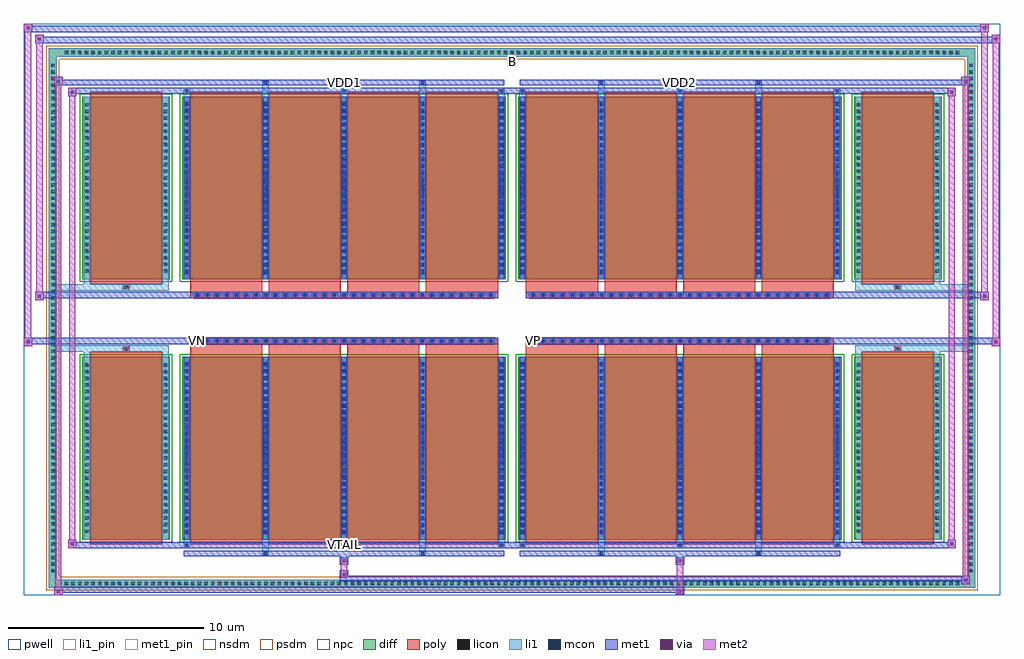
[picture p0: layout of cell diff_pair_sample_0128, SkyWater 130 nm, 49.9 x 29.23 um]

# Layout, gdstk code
import gdstk
lib = gdstk.Library(unit=1e-6, precision=5e-09)
def R(c, l, rs):  # rectangles x0, y0, x1, y1
    for r in rs: c.add(gdstk.rectangle(r[:2], r[2:], *l))
def A(c, l, x, y, w, h, nx, ny, dx, dy):  # array of equal rectangles
    R(c, l, [(x+i*dx, y+j*dy, x+i*dx+w, y+j*dy+h) for i in range(nx) for j in range(ny)])
def P(c, l, *ps):  # polygons
    for p in ps: c.add(gdstk.Polygon(p, *l))
pwell = (64, 44)
diff = (65, 20)
poly = (66, 20)
licon = (66, 44)
li1_pin = (67, 16)
li1 = (67, 20)
mcon = (67, 44)
met1_pin = (68, 16)
met1 = (68, 20)
via = (68, 44)
met2 = (69, 20)
nsdm = (93, 44)
psdm = (94, 20)
npc = (95, 20)

diff_pair_sample_0128 = lib.new_cell('diff_pair_sample_0128')
R(diff_pair_sample_0128, pwell, [(-24.95,-14.18,24.95,15.05), (-22.27,-12.37,-0.01,-0.805), (0.01,-12.37,22.27,-0.805), (-22.27,0.805,-0.01,12.37), (0.01,0.805,22.27,12.37)])
A(diff_pair_sample_0128, diff, -22.985, -13.78, 0.41, 0.41, 135, 2, 0.34, 27.15)
A(diff_pair_sample_0128, diff, -23.68, -13.125, 0.41, 0.41, 1, 77, 0, 0.34)
A(diff_pair_sample_0128, diff, 23.27, -13.125, 0.41, 0.41, 1, 77, 0, 0.34)
R(diff_pair_sample_0128, diff, [(-22.985,-13.78,22.985,-13.37), (-23.68,-13.125,-23.27,13.125), (23.27,-13.125,23.68,13.125), (-21.96,-11.325,-17.49,-1.985), (-16.85,-11.325,-0.32,-1.985), (0.32,-11.325,16.85,-1.985), (17.49,-11.325,21.96,-1.985), (-21.96,1.985,-17.49,11.325), (-16.85,1.985,-0.32,11.325), (0.32,1.985,16.85,11.325), (17.49,1.985,21.96,11.325), (-22.985,13.37,22.985,13.78)])
P(diff_pair_sample_0128, diff, [(23.68,13.78),(-23.68,13.78),(-23.68,-13.37),(-23.27,-13.37),(-23.27,13.37),(23.27,13.37),(23.27,-13.37),(-23.27,-13.37),(-23.68,-13.37),(-23.68,-13.78),(23.68,-13.78)])
A(diff_pair_sample_0128, poly, -16.46, -11.575, 3.69, 9.84, 4, 2, 4.02, 13.31)
A(diff_pair_sample_0128, poly, 0.71, -11.575, 3.69, 9.84, 4, 2, 4.02, 13.31)
A(diff_pair_sample_0128, poly, -16.46, -1.735, 3.69, 0.4, 4, 2, 4.02, 3.07)
A(diff_pair_sample_0128, poly, 0.71, -1.735, 3.69, 0.4, 4, 2, 4.02, 3.07)
A(diff_pair_sample_0128, poly, -16.25, -1.335, 0.33, 0.33, 31, 2, 0.5, 2.34)
A(diff_pair_sample_0128, poly, 0.92, -1.335, 0.33, 0.33, 31, 2, 0.5, 2.34)
R(diff_pair_sample_0128, poly, [(-21.57,-11.575,-17.88,-1.735), (17.88,-11.575,21.57,-1.735), (-19.89,-1.735,-19.56,-1.405), (-19.89,-1.735,-19.56,-1.405), (19.56,-1.735,19.89,-1.405), (19.56,-1.735,19.89,-1.405), (-16.46,-1.335,-0.71,-1.005), (0.71,-1.335,16.46,-1.005), (-16.46,1.005,-0.71,1.335), (0.71,1.005,16.46,1.335), (-19.89,1.405,-19.56,1.735), (-19.89,1.405,-19.56,1.735), (19.56,1.405,19.89,1.735), (19.56,1.405,19.89,1.735), (-21.57,1.735,-17.88,11.575), (17.88,1.735,21.57,11.575)])
A(diff_pair_sample_0128, licon, -22.865, -13.66, 0.17, 0.17, 135, 2, 0.34, 27.15)
A(diff_pair_sample_0128, licon, -23.56, -13.005, 0.17, 0.17, 1, 77, 0, 0.34)
A(diff_pair_sample_0128, licon, 23.39, -13.005, 0.17, 0.17, 1, 77, 0, 0.34)
A(diff_pair_sample_0128, licon, -21.82, -10.99, 0.17, 0.17, 1, 26, 0, 0.34)
A(diff_pair_sample_0128, licon, -17.8, -10.99, 0.17, 0.17, 1, 26, 0, 0.34)
A(diff_pair_sample_0128, licon, -16.71, -10.99, 0.17, 0.17, 5, 26, 4.02, 0.34)
A(diff_pair_sample_0128, licon, 0.46, -10.99, 0.17, 0.17, 5, 26, 4.02, 0.34)
A(diff_pair_sample_0128, licon, 17.63, -10.99, 0.17, 0.17, 1, 26, 0, 0.34)
A(diff_pair_sample_0128, licon, 21.65, -10.99, 0.17, 0.17, 1, 26, 0, 0.34)
A(diff_pair_sample_0128, licon, -16.17, -1.255, 0.17, 0.17, 31, 2, 0.5, 2.34)
A(diff_pair_sample_0128, licon, 1, -1.255, 0.17, 0.17, 31, 2, 0.5, 2.34)
A(diff_pair_sample_0128, licon, -21.82, 2.32, 0.17, 0.17, 1, 26, 0, 0.34)
A(diff_pair_sample_0128, licon, -17.8, 2.32, 0.17, 0.17, 1, 26, 0, 0.34)
A(diff_pair_sample_0128, licon, -16.71, 2.32, 0.17, 0.17, 5, 26, 4.02, 0.34)
A(diff_pair_sample_0128, licon, 0.46, 2.32, 0.17, 0.17, 5, 26, 4.02, 0.34)
A(diff_pair_sample_0128, licon, 17.63, 2.32, 0.17, 0.17, 1, 26, 0, 0.34)
A(diff_pair_sample_0128, licon, 21.65, 2.32, 0.17, 0.17, 1, 26, 0, 0.34)
R(diff_pair_sample_0128, licon, [(-19.81,-1.655,-19.64,-1.485), (19.64,-1.655,19.81,-1.485), (-19.81,1.485,-19.64,1.655), (19.64,1.485,19.81,1.655)])
R(diff_pair_sample_0128, li1_pin, [(-0.25,12.87,0.25,13.37)])
A(diff_pair_sample_0128, li1, -22.945, -13.74, 0.33, 0.33, 135, 2, 0.34, 27.15)
A(diff_pair_sample_0128, li1, -23.64, -13.085, 0.33, 0.33, 1, 77, 0, 0.34)
A(diff_pair_sample_0128, li1, 23.31, -13.085, 0.33, 0.33, 1, 77, 0, 0.34)
A(diff_pair_sample_0128, li1, -16.79, -11.7, 0.33, 0.375, 3, 2, 8.04, 23.025)
A(diff_pair_sample_0128, li1, -16.71, -11.7, 0.17, 0.17, 3, 2, 8.04, 23.23)
A(diff_pair_sample_0128, li1, 0.38, -11.7, 0.33, 0.375, 3, 2, 8.04, 23.025)
A(diff_pair_sample_0128, li1, 0.46, -11.7, 0.17, 0.17, 3, 2, 8.04, 23.23)
A(diff_pair_sample_0128, li1, -16.79, -11.325, 0.33, 9.34, 5, 2, 4.02, 13.31)
A(diff_pair_sample_0128, li1, 0.38, -11.325, 0.33, 9.34, 5, 2, 4.02, 13.31)
A(diff_pair_sample_0128, li1, -21.9, -11.07, 0.33, 0.33, 1, 26, 0, 0.34)
A(diff_pair_sample_0128, li1, -17.88, -11.07, 0.33, 0.33, 1, 26, 0, 0.34)
A(diff_pair_sample_0128, li1, -16.79, -11.07, 0.33, 0.33, 5, 26, 4.02, 0.34)
A(diff_pair_sample_0128, li1, 0.38, -11.07, 0.33, 0.33, 5, 26, 4.02, 0.34)
A(diff_pair_sample_0128, li1, 17.55, -11.07, 0.33, 0.33, 1, 26, 0, 0.34)
A(diff_pair_sample_0128, li1, 21.57, -11.07, 0.33, 0.33, 1, 26, 0, 0.34)
A(diff_pair_sample_0128, li1, -16.71, -11.06, 0.17, 0.17, 5, 25, 4.02, 0.36)
A(diff_pair_sample_0128, li1, -16.71, -11.06, 0.17, 8.81, 5, 2, 4.02, 13.31)
A(diff_pair_sample_0128, li1, 0.46, -11.06, 0.17, 0.17, 5, 25, 4.02, 0.36)
A(diff_pair_sample_0128, li1, 0.46, -11.06, 0.17, 8.81, 5, 2, 4.02, 13.31)
A(diff_pair_sample_0128, li1, -16.25, -1.335, 0.33, 0.33, 31, 2, 0.5, 2.34)
A(diff_pair_sample_0128, li1, 0.92, -1.335, 0.33, 0.33, 31, 2, 0.5, 2.34)
A(diff_pair_sample_0128, li1, -21.9, 2.24, 0.33, 0.33, 1, 26, 0, 0.34)
A(diff_pair_sample_0128, li1, -17.88, 2.24, 0.33, 0.33, 1, 26, 0, 0.34)
A(diff_pair_sample_0128, li1, -16.79, 2.24, 0.33, 0.33, 5, 26, 4.02, 0.34)
A(diff_pair_sample_0128, li1, 0.38, 2.24, 0.33, 0.33, 5, 26, 4.02, 0.34)
A(diff_pair_sample_0128, li1, 17.55, 2.24, 0.33, 0.33, 1, 26, 0, 0.34)
A(diff_pair_sample_0128, li1, 21.57, 2.24, 0.33, 0.33, 1, 26, 0, 0.34)
A(diff_pair_sample_0128, li1, -16.71, 2.25, 0.17, 0.17, 5, 25, 4.02, 0.36)
A(diff_pair_sample_0128, li1, 0.46, 2.25, 0.17, 0.17, 5, 25, 4.02, 0.36)
R(diff_pair_sample_0128, li1, [(-23.68,-13.78,-23.27,-13.37), (-23.68,-13.78,-23.27,-13.37), (-23.27,-13.78,23.27,-13.37), (23.27,-13.78,23.68,-13.37), (23.27,-13.78,23.68,-13.37), (-23.68,-13.37,-23.27,13.37), (23.27,-13.37,23.68,13.37), (-12.77,-12.13,-12.44,-11.325), (-12.69,-12.13,-12.52,-11.96), (-4.73,-12.13,-4.4,-11.325), (-4.65,-12.13,-4.48,-11.96), (4.4,-12.13,4.73,-11.325), (4.48,-12.13,4.65,-11.96), (12.44,-12.13,12.77,-11.325), (12.52,-12.13,12.69,-11.96), (-21.9,-11.325,-21.57,-1.985), (-17.88,-11.325,-17.55,-1.985), (17.55,-11.325,17.88,-1.985), (21.57,-11.325,21.9,-1.985), (-21.9,-1.985,-21.57,-1.405), (-17.88,-1.985,-17.55,-1.405), (17.55,-1.985,17.88,-1.405), (21.57,-1.985,21.9,-1.405), (-23.68,-1.735,-19.89,-1.405), (-21.9,-1.735,-19.89,-1.405), (-19.89,-1.735,-19.56,-1.405), (-19.56,-1.735,-17.55,-1.405), (17.55,-1.735,19.56,-1.405), (19.56,-1.735,19.89,-1.405), (19.56,-1.735,23.68,-1.405), (19.89,-1.735,21.9,-1.405), (-23.68,1.405,-19.89,1.735), (-21.9,1.405,-19.89,1.735), (-21.9,1.405,-21.57,1.985), (-19.89,1.405,-19.56,1.735), (-19.56,1.405,-17.55,1.735), (-17.88,1.405,-17.55,1.985), (17.55,1.405,19.56,1.735), (17.55,1.405,17.88,1.985), (19.56,1.405,19.89,1.735), (19.56,1.405,23.68,1.735), (19.89,1.405,21.9,1.735), (21.57,1.405,21.9,1.985), (-21.9,1.985,-21.57,11.325), (-17.88,1.985,-17.55,11.325), (17.55,1.985,17.88,11.325), (21.57,1.985,21.9,11.325), (-12.77,11.325,-12.44,12.13), (-4.73,11.325,-4.4,12.13), (4.4,11.325,4.73,12.13), (12.44,11.325,12.77,12.13), (-12.69,11.96,-12.52,12.13), (-4.65,11.96,-4.48,12.13), (4.48,11.96,4.65,12.13), (12.52,11.96,12.69,12.13), (-23.68,13.37,-23.27,13.78), (-23.68,13.37,-23.27,13.78), (-23.27,13.37,23.27,13.78), (23.27,13.37,23.68,13.78), (23.27,13.37,23.68,13.78)])
A(diff_pair_sample_0128, mcon, -16.71, -11.7, 0.17, 0.17, 3, 2, 8.04, 23.23)
A(diff_pair_sample_0128, mcon, 0.46, -11.7, 0.17, 0.17, 3, 2, 8.04, 23.23)
A(diff_pair_sample_0128, mcon, -16.71, -11.06, 0.17, 0.17, 5, 25, 4.02, 0.36)
A(diff_pair_sample_0128, mcon, 0.46, -11.06, 0.17, 0.17, 5, 25, 4.02, 0.36)
A(diff_pair_sample_0128, mcon, -16.17, -1.255, 0.17, 0.17, 31, 2, 0.5, 2.34)
A(diff_pair_sample_0128, mcon, 1, -1.255, 0.17, 0.17, 31, 2, 0.5, 2.34)
A(diff_pair_sample_0128, mcon, -16.71, 2.25, 0.17, 0.17, 5, 25, 4.02, 0.36)
A(diff_pair_sample_0128, mcon, 0.46, 2.25, 0.17, 0.17, 5, 25, 4.02, 0.36)
R(diff_pair_sample_0128, mcon, [(-12.69,-12.13,-12.52,-11.96), (-4.65,-12.13,-4.48,-11.96), (4.48,-12.13,4.65,-11.96), (12.52,-12.13,12.69,-11.96), (-12.69,11.96,-12.52,12.13), (-4.65,11.96,-4.48,12.13), (4.48,11.96,4.65,12.13), (12.52,11.96,12.69,12.13)])
R(diff_pair_sample_0128, met1_pin, [(-8.72,-11.74,-8.45,-11.47), (-16.22,-1.295,-15.95,-1.025), (0.95,-1.295,1.22,-1.025), (-8.72,11.92,-8.45,12.19), (8.45,11.92,8.72,12.19)])
A(diff_pair_sample_0128, met1, -16.77, -11.76, 0.29, 0.29, 3, 2, 8.04, 23.23)
A(diff_pair_sample_0128, met1, 0.4, -11.76, 0.29, 0.29, 3, 2, 8.04, 23.23)
A(diff_pair_sample_0128, met1, -16.77, -11.325, 0.29, 9.34, 5, 2, 4.02, 13.31)
A(diff_pair_sample_0128, met1, 0.4, -11.325, 0.29, 9.34, 5, 2, 4.02, 13.31)
A(diff_pair_sample_0128, met1, -16.77, -11.12, 0.29, 0.29, 5, 25, 4.02, 0.36)
A(diff_pair_sample_0128, met1, 0.4, -11.12, 0.29, 0.29, 5, 25, 4.02, 0.36)
A(diff_pair_sample_0128, met1, -16.23, -1.315, 0.29, 0.29, 31, 2, 0.5, 2.34)
A(diff_pair_sample_0128, met1, 0.94, -1.315, 0.29, 0.29, 31, 2, 0.5, 2.34)
A(diff_pair_sample_0128, met1, -16.77, 2.19, 0.29, 0.29, 5, 25, 4.02, 0.36)
A(diff_pair_sample_0128, met1, 0.4, 2.19, 0.29, 0.29, 5, 25, 4.02, 0.36)
R(diff_pair_sample_0128, met1, [(-23.41,-14.18,-22.98,-13.75), (8.37,-14.18,8.8,-13.75), (-23.41,-14.04,8.8,-13.75), (22.98,-13.61,23.41,-13.18), (-8.8,-13.47,23.41,-13.18), (-8.8,-13.33,-8.37,-12.9), (-8.8,-12.62,-8.37,-12.19), (8.37,-12.62,8.8,-12.19), (-16.77,-12.19,-0.4,-11.9), (-12.75,-12.19,-12.46,-11.9), (-4.71,-12.19,-4.42,-11.9), (0.4,-12.19,16.77,-11.9), (4.42,-12.19,4.71,-11.9), (12.46,-12.19,12.75,-11.9), (-22.7,-11.76,-22.27,-11.33), (-22.7,-11.76,-16.77,-11.47), (-16.77,-11.76,-0.4,-11.47), (-0.4,-11.76,0.4,-11.47), (0.4,-11.76,16.77,-11.47), (16.77,-11.76,22.7,-11.47), (22.27,-11.76,22.7,-11.33), (-24.95,-1.435,-24.52,-1.005), (24.52,-1.435,24.95,-1.005), (-24.95,-1.335,-0.71,-1.005), (-16.46,-1.335,-0.71,-1.005), (0.71,-1.335,16.46,-1.005), (0.71,-1.335,24.95,-1.005), (-24.38,0.905,-23.95,1.335), (23.95,0.905,24.38,1.335), (-24.38,1.005,-16.46,1.335), (-16.46,1.005,-0.71,1.335), (0.71,1.005,16.46,1.335), (16.46,1.005,24.38,1.335), (-22.7,11.33,-22.27,11.76), (22.27,11.33,22.7,11.76), (-22.7,11.47,-16.77,11.76), (-16.77,11.47,-0.4,11.76), (-0.4,11.47,0.4,11.76), (0.4,11.47,16.77,11.76), (16.77,11.47,22.7,11.76), (-23.41,11.9,-22.98,12.33), (-23.41,11.9,-16.77,12.19), (-16.77,11.9,-0.4,12.19), (-12.75,11.9,-12.46,12.19), (-4.71,11.9,-4.42,12.19), (0.4,11.9,16.77,12.19), (4.42,11.9,4.71,12.19), (12.46,11.9,12.75,12.19), (16.77,11.9,23.41,12.19), (22.98,11.9,23.41,12.33), (-24.38,14.05,-23.95,14.48), (-24.38,14.05,-22.27,14.38), (-22.27,14.05,22.27,14.38), (22.27,14.05,24.95,14.38), (24.52,14.05,24.95,14.48), (-24.95,14.62,-24.52,15.05), (-24.95,14.62,-22.27,14.95), (-22.27,14.62,22.27,14.95), (22.27,14.62,24.38,14.95), (23.95,14.62,24.38,15.05)])
R(diff_pair_sample_0128, via, [(-23.27,-14.04,-23.12,-13.89), (8.51,-14.04,8.66,-13.89), (23.12,-13.47,23.27,-13.32), (-8.66,-13.19,-8.51,-13.04), (-8.66,-12.48,-8.51,-12.33), (8.51,-12.48,8.66,-12.33), (-22.56,-11.62,-22.41,-11.47), (22.41,-11.62,22.56,-11.47), (-24.81,-1.295,-24.66,-1.145), (24.66,-1.295,24.81,-1.145), (-24.24,1.045,-24.09,1.195), (24.09,1.045,24.24,1.195), (-22.56,11.47,-22.41,11.62), (22.41,11.47,22.56,11.62), (-23.27,12.04,-23.12,12.19), (23.12,12.04,23.27,12.19), (-24.24,14.19,-24.09,14.34), (24.66,14.19,24.81,14.34), (-24.81,14.76,-24.66,14.91), (24.09,14.76,24.24,14.91)])
R(diff_pair_sample_0128, met2, [(-23.41,-14.18,-22.98,-13.75), (-23.34,-14.18,-23.05,12.33), (-23.05,-14.18,-22.98,-13.75), (-23.36,-14.13,-23.03,-13.8), (8.42,-14.13,8.75,-13.8), (8.42,-13.8,8.75,-12.57), (22.98,-13.61,23.41,-13.18), (23.05,-13.61,23.34,12.33), (23.34,-13.61,23.41,-13.18), (23.03,-13.56,23.36,-13.23), (-8.75,-13.28,-8.42,-12.95), (-8.75,-12.95,-8.42,-12.57), (-8.75,-12.57,-8.42,-12.24), (8.42,-12.57,8.75,-12.24), (-22.7,-11.76,-22.27,-11.33), (-22.63,-11.76,-22.34,11.76), (-22.34,-11.76,-22.27,-11.33), (22.27,-11.76,22.7,-11.33), (22.34,-11.76,22.63,11.76), (22.63,-11.76,22.7,-11.33), (-22.65,-11.71,-22.32,-11.38), (22.32,-11.71,22.65,-11.38), (-24.95,-1.435,-24.52,-1.005), (-24.9,-1.435,-24.57,15.05), (-24.57,-1.435,-24.52,-1.005), (24.52,-1.435,24.95,-1.005), (24.57,-1.435,24.9,14.48), (24.9,-1.435,24.95,-1.005), (-24.9,-1.385,-24.57,-1.055), (24.57,-1.385,24.9,-1.055), (-24.38,0.905,-23.95,1.335), (-24.33,0.905,-24,14.48), (-24,0.905,-23.95,1.335), (23.95,0.905,24.38,1.335), (24,0.905,24.33,15.05), (24.33,0.905,24.38,1.335), (-24.33,0.955,-24,1.285), (24,0.955,24.33,1.285), (-22.7,11.33,-22.27,11.76), (-22.34,11.33,-22.27,11.76), (22.27,11.33,22.7,11.76), (22.63,11.33,22.7,11.76), (-22.65,11.38,-22.32,11.71), (22.32,11.38,22.65,11.71), (-23.41,11.9,-22.98,12.33), (-23.05,11.9,-22.98,12.33), (22.98,11.9,23.41,12.33), (23.34,11.9,23.41,12.33), (-23.36,11.95,-23.03,12.28), (23.03,11.95,23.36,12.28), (-24.38,14.05,-23.95,14.48), (-24,14.05,-23.95,14.48), (24.52,14.05,24.95,14.48), (24.9,14.05,24.95,14.48), (-24.33,14.1,-24,14.43), (24.57,14.1,24.9,14.43), (-24.95,14.62,-24.52,15.05), (-24.57,14.62,-24.52,15.05), (23.95,14.62,24.38,15.05), (24.33,14.62,24.38,15.05), (-24.9,14.67,-24.57,15), (24,14.67,24.33,15)])
R(diff_pair_sample_0128, nsdm, [(-22.09,-11.455,-17.36,-1.855), (-16.98,-11.455,-0.19,-1.855), (0.19,-11.455,16.98,-1.855), (17.36,-11.455,22.09,-1.855), (-22.09,1.855,-17.36,11.455), (-16.98,1.855,-0.19,11.455), (0.19,1.855,16.98,11.455), (17.36,1.855,22.09,11.455)])
P(diff_pair_sample_0128, psdm, [(23.81,13.91),(-23.81,13.91),(-23.81,-13.24),(-23.14,-13.24),(-23.14,13.24),(23.14,13.24),(23.14,-13.24),(-23.14,-13.24),(-23.81,-13.24),(-23.81,-13.91),(23.81,-13.91)])
A(diff_pair_sample_0128, npc, -16.27, -1.355, 0.37, 0.37, 31, 2, 0.5, 2.34)
A(diff_pair_sample_0128, npc, 0.9, -1.355, 0.37, 0.37, 31, 2, 0.5, 2.34)
R(diff_pair_sample_0128, npc, [(-19.91,-1.755,-19.54,-1.385), (19.54,-1.755,19.91,-1.385), (-16.27,-1.355,-15.4,-0.985), (-16.27,-1.355,-15.4,-0.985), (-15.77,-1.355,-14.9,-0.985), (-15.77,-1.355,-14.9,-0.985), (-15.27,-1.355,-14.4,-0.985), (-15.27,-1.355,-14.4,-0.985), (-14.77,-1.355,-13.9,-0.985), (-14.77,-1.355,-13.9,-0.985), (-14.27,-1.355,-13.4,-0.985), (-14.27,-1.355,-13.4,-0.985), (-13.77,-1.355,-12.9,-0.985), (-13.77,-1.355,-12.9,-0.985), (-13.27,-1.355,-12.4,-0.985), (-13.27,-1.355,-12.4,-0.985), (-12.77,-1.355,-11.9,-0.985), (-12.77,-1.355,-11.9,-0.985), (-12.27,-1.355,-11.4,-0.985), (-12.27,-1.355,-11.4,-0.985), (-11.77,-1.355,-10.9,-0.985), (-11.77,-1.355,-10.9,-0.985), (-11.27,-1.355,-10.4,-0.985), (-11.27,-1.355,-10.4,-0.985), (-10.77,-1.355,-9.9,-0.985), (-10.77,-1.355,-9.9,-0.985), (-10.27,-1.355,-9.4,-0.985), (-10.27,-1.355,-9.4,-0.985), (-9.77,-1.355,-8.9,-0.985), (-9.77,-1.355,-8.9,-0.985), (-9.27,-1.355,-8.4,-0.985), (-9.27,-1.355,-8.4,-0.985), (-8.77,-1.355,-7.9,-0.985), (-8.77,-1.355,-7.9,-0.985), (-8.27,-1.355,-7.4,-0.985), (-8.27,-1.355,-7.4,-0.985), (-7.77,-1.355,-6.9,-0.985), (-7.77,-1.355,-6.9,-0.985), (-7.27,-1.355,-6.4,-0.985), (-7.27,-1.355,-6.4,-0.985), (-6.77,-1.355,-5.9,-0.985), (-6.77,-1.355,-5.9,-0.985), (-6.27,-1.355,-5.4,-0.985), (-6.27,-1.355,-5.4,-0.985), (-5.77,-1.355,-4.9,-0.985), (-5.77,-1.355,-4.9,-0.985), (-5.27,-1.355,-4.4,-0.985), (-5.27,-1.355,-4.4,-0.985), (-4.77,-1.355,-3.9,-0.985), (-4.77,-1.355,-3.9,-0.985), (-4.27,-1.355,-3.4,-0.985), (-4.27,-1.355,-3.4,-0.985), (-3.77,-1.355,-2.9,-0.985), (-3.77,-1.355,-2.9,-0.985), (-3.27,-1.355,-2.4,-0.985), (-3.27,-1.355,-2.4,-0.985), (-2.77,-1.355,-1.9,-0.985), (-2.77,-1.355,-1.9,-0.985), (-2.27,-1.355,-1.4,-0.985), (-2.27,-1.355,-1.4,-0.985), (-1.77,-1.355,-0.9,-0.985), (-1.77,-1.355,-0.9,-0.985), (0.9,-1.355,1.77,-0.985), (0.9,-1.355,1.77,-0.985), (1.4,-1.355,2.27,-0.985), (1.4,-1.355,2.27,-0.985), (1.9,-1.355,2.77,-0.985), (1.9,-1.355,2.77,-0.985), (2.4,-1.355,3.27,-0.985), (2.4,-1.355,3.27,-0.985), (2.9,-1.355,3.77,-0.985), (2.9,-1.355,3.77,-0.985), (3.4,-1.355,4.27,-0.985), (3.4,-1.355,4.27,-0.985), (3.9,-1.355,4.77,-0.985), (3.9,-1.355,4.77,-0.985), (4.4,-1.355,5.27,-0.985), (4.4,-1.355,5.27,-0.985), (4.9,-1.355,5.77,-0.985), (4.9,-1.355,5.77,-0.985), (5.4,-1.355,6.27,-0.985), (5.4,-1.355,6.27,-0.985), (5.9,-1.355,6.77,-0.985), (5.9,-1.355,6.77,-0.985), (6.4,-1.355,7.27,-0.985), (6.4,-1.355,7.27,-0.985), (6.9,-1.355,7.77,-0.985), (6.9,-1.355,7.77,-0.985), (7.4,-1.355,8.27,-0.985), (7.4,-1.355,8.27,-0.985), (7.9,-1.355,8.77,-0.985), (7.9,-1.355,8.77,-0.985), (8.4,-1.355,9.27,-0.985), (8.4,-1.355,9.27,-0.985), (8.9,-1.355,9.77,-0.985), (8.9,-1.355,9.77,-0.985), (9.4,-1.355,10.27,-0.985), (9.4,-1.355,10.27,-0.985), (9.9,-1.355,10.77,-0.985), (9.9,-1.355,10.77,-0.985), (10.4,-1.355,11.27,-0.985), (10.4,-1.355,11.27,-0.985), (10.9,-1.355,11.77,-0.985), (10.9,-1.355,11.77,-0.985), (11.4,-1.355,12.27,-0.985), (11.4,-1.355,12.27,-0.985), (11.9,-1.355,12.77,-0.985), (11.9,-1.355,12.77,-0.985), (12.4,-1.355,13.27,-0.985), (12.4,-1.355,13.27,-0.985), (12.9,-1.355,13.77,-0.985), (12.9,-1.355,13.77,-0.985), (13.4,-1.355,14.27,-0.985), (13.4,-1.355,14.27,-0.985), (13.9,-1.355,14.77,-0.985), (13.9,-1.355,14.77,-0.985), (14.4,-1.355,15.27,-0.985), (14.4,-1.355,15.27,-0.985), (14.9,-1.355,15.77,-0.985), (14.9,-1.355,15.77,-0.985), (15.4,-1.355,16.27,-0.985), (15.4,-1.355,16.27,-0.985), (-16.27,0.985,-15.4,1.355), (-16.27,0.985,-15.4,1.355), (-15.77,0.985,-14.9,1.355), (-15.77,0.985,-14.9,1.355), (-15.27,0.985,-14.4,1.355), (-15.27,0.985,-14.4,1.355), (-14.77,0.985,-13.9,1.355), (-14.77,0.985,-13.9,1.355), (-14.27,0.985,-13.4,1.355), (-14.27,0.985,-13.4,1.355), (-13.77,0.985,-12.9,1.355), (-13.77,0.985,-12.9,1.355), (-13.27,0.985,-12.4,1.355), (-13.27,0.985,-12.4,1.355), (-12.77,0.985,-11.9,1.355), (-12.77,0.985,-11.9,1.355), (-12.27,0.985,-11.4,1.355), (-12.27,0.985,-11.4,1.355), (-11.77,0.985,-10.9,1.355), (-11.77,0.985,-10.9,1.355), (-11.27,0.985,-10.4,1.355), (-11.27,0.985,-10.4,1.355), (-10.77,0.985,-9.9,1.355), (-10.77,0.985,-9.9,1.355), (-10.27,0.985,-9.4,1.355), (-10.27,0.985,-9.4,1.355), (-9.77,0.985,-8.9,1.355), (-9.77,0.985,-8.9,1.355), (-9.27,0.985,-8.4,1.355), (-9.27,0.985,-8.4,1.355), (-8.77,0.985,-7.9,1.355), (-8.77,0.985,-7.9,1.355), (-8.27,0.985,-7.4,1.355), (-8.27,0.985,-7.4,1.355), (-7.77,0.985,-6.9,1.355), (-7.77,0.985,-6.9,1.355), (-7.27,0.985,-6.4,1.355), (-7.27,0.985,-6.4,1.355), (-6.77,0.985,-5.9,1.355), (-6.77,0.985,-5.9,1.355), (-6.27,0.985,-5.4,1.355), (-6.27,0.985,-5.4,1.355), (-5.77,0.985,-4.9,1.355), (-5.77,0.985,-4.9,1.355), (-5.27,0.985,-4.4,1.355), (-5.27,0.985,-4.4,1.355), (-4.77,0.985,-3.9,1.355), (-4.77,0.985,-3.9,1.355), (-4.27,0.985,-3.4,1.355), (-4.27,0.985,-3.4,1.355), (-3.77,0.985,-2.9,1.355), (-3.77,0.985,-2.9,1.355), (-3.27,0.985,-2.4,1.355), (-3.27,0.985,-2.4,1.355), (-2.77,0.985,-1.9,1.355), (-2.77,0.985,-1.9,1.355), (-2.27,0.985,-1.4,1.355), (-2.27,0.985,-1.4,1.355), (-1.77,0.985,-0.9,1.355), (-1.77,0.985,-0.9,1.355), (0.9,0.985,1.77,1.355), (0.9,0.985,1.77,1.355), (1.4,0.985,2.27,1.355), (1.4,0.985,2.27,1.355), (1.9,0.985,2.77,1.355), (1.9,0.985,2.77,1.355), (2.4,0.985,3.27,1.355), (2.4,0.985,3.27,1.355), (2.9,0.985,3.77,1.355), (2.9,0.985,3.77,1.355), (3.4,0.985,4.27,1.355), (3.4,0.985,4.27,1.355), (3.9,0.985,4.77,1.355), (3.9,0.985,4.77,1.355), (4.4,0.985,5.27,1.355), (4.4,0.985,5.27,1.355), (4.9,0.985,5.77,1.355), (4.9,0.985,5.77,1.355), (5.4,0.985,6.27,1.355), (5.4,0.985,6.27,1.355), (5.9,0.985,6.77,1.355), (5.9,0.985,6.77,1.355), (6.4,0.985,7.27,1.355), (6.4,0.985,7.27,1.355), (6.9,0.985,7.77,1.355), (6.9,0.985,7.77,1.355), (7.4,0.985,8.27,1.355), (7.4,0.985,8.27,1.355), (7.9,0.985,8.77,1.355), (7.9,0.985,8.77,1.355), (8.4,0.985,9.27,1.355), (8.4,0.985,9.27,1.355), (8.9,0.985,9.77,1.355), (8.9,0.985,9.77,1.355), (9.4,0.985,10.27,1.355), (9.4,0.985,10.27,1.355), (9.9,0.985,10.77,1.355), (9.9,0.985,10.77,1.355), (10.4,0.985,11.27,1.355), (10.4,0.985,11.27,1.355), (10.9,0.985,11.77,1.355), (10.9,0.985,11.77,1.355), (11.4,0.985,12.27,1.355), (11.4,0.985,12.27,1.355), (11.9,0.985,12.77,1.355), (11.9,0.985,12.77,1.355), (12.4,0.985,13.27,1.355), (12.4,0.985,13.27,1.355), (12.9,0.985,13.77,1.355), (12.9,0.985,13.77,1.355), (13.4,0.985,14.27,1.355), (13.4,0.985,14.27,1.355), (13.9,0.985,14.77,1.355), (13.9,0.985,14.77,1.355), (14.4,0.985,15.27,1.355), (14.4,0.985,15.27,1.355), (14.9,0.985,15.77,1.355), (14.9,0.985,15.77,1.355), (15.4,0.985,16.27,1.355), (15.4,0.985,16.27,1.355), (-19.91,1.385,-19.54,1.755), (19.54,1.385,19.91,1.755)])
diff_pair_sample_0128.add(gdstk.Label('VTAIL', (-8.585,-11.605), layer=68, texttype=5))
diff_pair_sample_0128.add(gdstk.Label('VN', (-16.085,-1.16), layer=68, texttype=5))
diff_pair_sample_0128.add(gdstk.Label('VP', (1.085,-1.16), layer=68, texttype=5))
diff_pair_sample_0128.add(gdstk.Label('B', (0,13.12), layer=67, texttype=5))
diff_pair_sample_0128.add(gdstk.Label('VDD2', (8.585,12.055), layer=68, texttype=5))
diff_pair_sample_0128.add(gdstk.Label('VDD1', (-8.585,12.055), layer=68, texttype=5))

lib.write_gds('diff_pair_sample_0128.gds')
